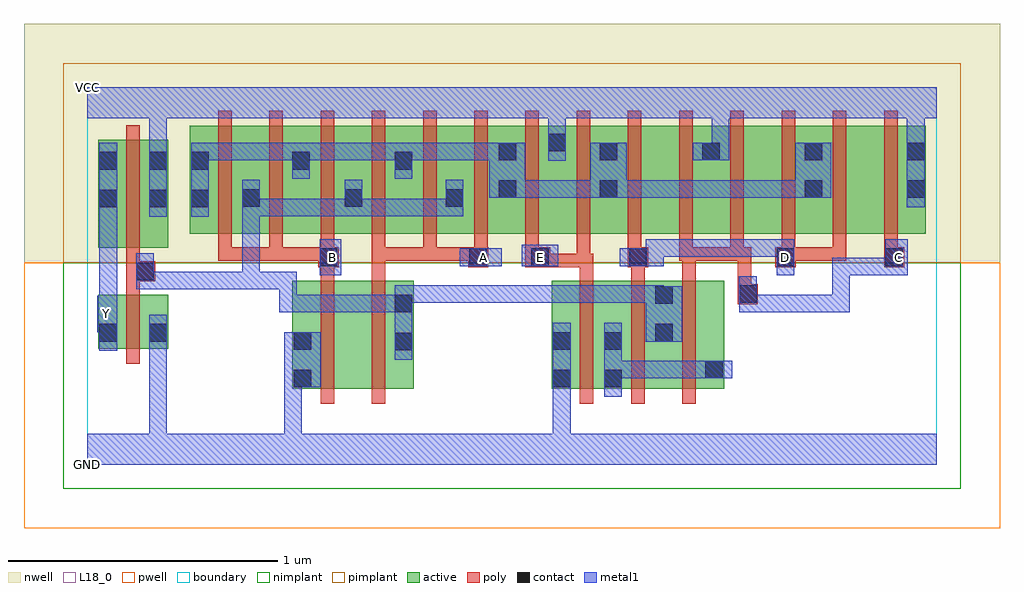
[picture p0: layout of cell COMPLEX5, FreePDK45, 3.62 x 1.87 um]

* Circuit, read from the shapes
.subckt COMPLEX5 A B C D E GND VCC Y
M1 GND n1 Y VSUBS nfet w=0.2u l=0.05u
M2 n2 B GND VSUBS nfet w=0.4u l=0.05u
M3 n1 A n2 VSUBS nfet w=0.4u l=0.05u
M4 n3 E GND VSUBS nfet w=0.4u l=0.05u
M5 n1 D n3 VSUBS nfet w=0.4u l=0.05u
M6 n3 C n1 VSUBS nfet w=0.4u l=0.05u
M7 VCC n1 Y n4 pfet w=0.4u l=0.05u
M8 n1 B n5 n4 pfet w=0.4u l=0.05u m=3
M9 n5 A n1 n4 pfet w=0.4u l=0.05u m=3
M10 VCC E n5 n4 pfet w=0.4u l=0.05u m=2
M11 n6 D n5 n4 pfet w=0.4u l=0.05u
M12 VCC C n6 n4 pfet w=0.4u l=0.05u
M13 n7 C VCC n4 pfet w=0.4u l=0.05u
M14 n5 D n7 n4 pfet w=0.4u l=0.05u
M15 n8 D n5 n4 pfet w=0.4u l=0.05u
M16 VCC C n8 n4 pfet w=0.4u l=0.05u
.ends

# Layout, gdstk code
import gdstk
lib = gdstk.Library(unit=1e-6, precision=1e-09)
def R(c, l, rs):  # rectangles x0, y0, x1, y1
    for r in rs: c.add(gdstk.rectangle(r[:2], r[2:], *l))
def A(c, l, x, y, w, h, nx, ny, dx, dy):  # array of equal rectangles
    R(c, l, [(x+i*dx, y+j*dy, x+i*dx+w, y+j*dy+h) for i in range(nx) for j in range(ny)])
active = (1, 0)
pwell = (2, 0)
nwell = (3, 0)
nimplant = (4, 0)
pimplant = (5, 0)
poly = (9, 0)
contact = (10, 0)
metal1 = (11, 0)
L18_0 = (18, 0)
boundary = (235, 0)

complex5 = lib.new_cell('COMPLEX5')
A(complex5, active, 1.895, 0.857, 0.23, 0.4, 3, 1, 0.38, 0)
A(complex5, active, 2.125, 0.857, 0.225, 0.4, 3, 1, 0.38, 0)
R(complex5, active, [(0.76,0.282,0.985,0.682), (0.76,0.282,0.835,0.547), (0.985,0.282,1.21,0.682), (1.722,0.282,1.797,0.682), (1.722,0.282,1.987,0.682), (1.912,0.282,2.177,0.682), (1.912,0.282,1.987,0.597), (2.102,0.282,2.362,0.682), (2.287,0.282,2.362,0.682), (1.135,0.295,1.21,0.682), (2.102,0.295,2.177,0.667), (0.04,0.43,0.115,0.63), (0.04,0.43,0.3,0.63), (0.225,0.43,0.3,0.63), (0.04,0.805,0.3,1.205), (0.04,0.805,0.115,1.2), (0.225,0.805,0.3,1.205), (0.38,0.857,0.645,1.257), (0.38,0.857,0.455,1.2), (0.57,0.857,0.83,1.257), (0.57,0.857,0.645,1.07), (0.755,0.857,0.83,1.2), (0.755,0.857,1.025,1.257), (0.95,0.857,1.21,1.257), (0.95,0.857,1.025,1.07), (1.135,0.857,1.4,1.257), (1.135,0.857,1.21,1.2), (1.325,0.857,1.595,1.257), (1.325,0.857,1.4,1.07), (1.52,0.857,1.78,1.257), (1.52,0.857,1.595,1.2), (1.705,0.857,1.78,1.257), (1.705,0.857,1.97,1.257), (1.895,0.857,1.97,1.2), (2.275,0.857,2.35,1.257), (2.655,0.857,2.73,1.2), (3.035,0.857,3.11,1.257)])
R(complex5, pwell, [(-0.235,-0.235,3.385,0.75)])
R(complex5, nwell, [(-0.235,0.75,3.385,1.635)])
R(complex5, nimplant, [(-0.09,-0.09,3.24,0.75)])
R(complex5, pimplant, [(-0.09,0.75,3.24,1.49)])
A(complex5, poly, 1.827, 0.227, 0.05, 0.51, 3, 1, 0.19, 0)
A(complex5, poly, 0.485, 0.757, 0.05, 0.095, 7, 1, 0.19, 0)
A(complex5, poly, 2.005, 0.757, 0.05, 0.095, 6, 1, 0.19, 0)
A(complex5, poly, 0.485, 0.802, 0.05, 0.51, 14, 1, 0.19, 0)
R(complex5, poly, [(0.865,0.227,0.915,0.737), (1.055,0.227,1.105,0.737), (0.145,0.375,0.195,0.685), (2.412,0.595,2.487,0.67), (2.412,0.62,2.462,0.807), (0.145,0.635,0.195,0.73), (0.145,0.68,0.252,0.755), (0.865,0.687,0.915,0.782), (1.055,0.687,1.105,0.807), (1.827,0.687,1.877,0.782), (2.017,0.687,2.067,0.782), (2.207,0.687,2.257,0.807), (0.145,0.705,0.195,0.8), (0.857,0.732,0.932,0.807), (1.412,0.732,1.487,0.807), (1.625,0.732,1.717,0.807), (1.667,0.732,1.865,0.782), (1.815,0.732,1.865,0.782), (1.815,0.732,1.865,0.782), (1.815,0.732,1.865,0.852), (1.815,0.732,1.877,0.782), (2.005,0.732,2.08,0.807), (2.552,0.732,2.627,0.807), (2.955,0.732,3.03,0.807), (0.145,0.75,0.195,1.26), (0.485,0.757,0.535,0.807), (0.485,0.757,0.535,0.807), (0.485,0.757,0.535,0.807), (0.485,0.757,0.725,0.807), (0.675,0.757,0.725,0.807), (0.675,0.757,0.725,0.807), (0.675,0.757,0.725,0.807), (0.675,0.757,0.907,0.807), (1.055,0.757,1.105,0.807), (1.055,0.757,1.105,0.807), (1.055,0.757,1.105,0.807), (1.055,0.757,1.295,0.807), (1.245,0.757,1.295,0.807), (1.245,0.757,1.295,0.807), (1.245,0.757,1.295,0.807), (1.245,0.757,1.462,0.807), (2.195,0.757,2.257,0.807), (2.207,0.757,2.435,0.807), (2.385,0.757,2.435,0.807), (2.385,0.757,2.435,0.807), (2.385,0.757,2.455,0.807), (2.405,0.757,2.455,0.807), (2.405,0.757,2.462,0.807), (2.577,0.757,2.815,0.807), (2.765,0.757,2.815,0.807), (2.765,0.757,2.815,0.807), (2.765,0.757,2.815,0.807)])
A(complex5, contact, 1.9, 1.13, 0.065, 0.065, 4, 1, 0.38, 0)
R(complex5, contact, [(0.765,0.287,0.83,0.352), (1.727,0.287,1.792,0.352), (1.917,0.287,1.982,0.352), (2.292,0.32,2.357,0.385), (1.14,0.425,1.205,0.49), (0.765,0.427,0.83,0.492), (1.727,0.427,1.792,0.492), (1.917,0.427,1.982,0.492), (0.045,0.457,0.11,0.522), (0.23,0.457,0.295,0.522), (2.107,0.457,2.172,0.522), (1.14,0.565,1.205,0.63), (2.107,0.597,2.172,0.662), (2.417,0.6,2.482,0.665), (0.182,0.685,0.247,0.75), (0.862,0.737,0.927,0.802), (1.417,0.737,1.482,0.802), (1.647,0.737,1.712,0.802), (2.01,0.737,2.075,0.802), (2.557,0.737,2.622,0.802), (2.96,0.737,3.025,0.802), (0.045,0.955,0.11,1.02), (0.23,0.955,0.295,1.02), (0.385,0.955,0.45,1.02), (0.575,0.957,0.64,1.022), (0.955,0.957,1.02,1.022), (1.33,0.957,1.395,1.022), (1.525,0.99,1.59,1.055), (1.9,0.99,1.965,1.055), (2.66,0.99,2.725,1.055), (3.04,0.99,3.105,1.055), (0.045,1.095,0.11,1.16), (0.23,1.095,0.295,1.16), (0.385,1.095,0.45,1.16), (0.76,1.095,0.825,1.16), (1.14,1.095,1.205,1.16), (1.525,1.13,1.59,1.195), (1.71,1.162,1.775,1.227)])
R(complex5, metal1, [(0,0,3.15,0.115), (0.23,0.05,0.295,0.115), (0.23,0.05,0.295,0.115), (0.23,0.05,0.295,0.115), (0.23,0.05,0.295,0.115), (0.23,0.05,0.295,0.487), (0.73,0.05,0.795,0.115), (0.73,0.05,0.795,0.115), (0.73,0.05,0.795,0.352), (1.727,0.05,1.792,0.115), (1.727,0.05,1.792,0.115), (1.727,0.05,1.792,0.317), (1.727,0.252,1.792,0.527), (1.917,0.252,1.982,0.527), (0.73,0.287,0.865,0.492), (1.917,0.32,2.137,0.385), (2.072,0.32,2.137,0.385), (2.072,0.32,2.137,0.385), (2.072,0.32,2.137,0.385), (2.072,0.32,2.3,0.385), (2.235,0.32,2.3,0.385), (2.235,0.32,2.322,0.385), (2.257,0.32,2.392,0.385), (1.14,0.39,1.205,0.665), (0.045,0.422,0.11,0.557), (0.23,0.422,0.295,0.487), (0.23,0.422,0.295,0.487), (0.23,0.422,0.295,0.557), (2.072,0.457,2.207,0.662), (0.037,0.492,0.11,0.627), (0.045,0.492,0.11,0.557), (0.045,0.562,0.11,0.985), (0.712,0.565,0.777,0.63), (0.712,0.565,0.777,0.63), (0.712,0.565,0.777,0.63), (0.712,0.565,1.067,0.63), (0.712,0.565,0.777,0.715), (1.002,0.565,1.067,0.63), (1.002,0.565,1.067,0.63), (1.002,0.565,1.067,0.63), (1.002,0.565,1.205,0.63), (2.417,0.565,2.482,0.63), (2.417,0.565,2.482,0.63), (2.417,0.565,2.482,0.63), (2.417,0.565,2.482,0.63), (2.417,0.565,2.482,0.7), (2.417,0.565,2.69,0.63), (2.625,0.565,2.69,0.63), (2.625,0.565,2.69,0.63), (2.625,0.565,2.69,0.63), (2.625,0.565,2.827,0.63), (2.762,0.565,2.827,0.767), (2.762,0.565,2.827,0.63), (2.762,0.565,2.827,0.63), (2.762,0.565,2.827,0.63), (2.072,0.597,2.137,0.662), (2.072,0.597,2.137,0.665), (1.14,0.6,1.205,0.665), (1.14,0.6,1.205,0.665), (1.14,0.6,1.395,0.665), (1.33,0.6,1.395,0.665), (1.33,0.6,1.395,0.665), (1.33,0.6,1.395,0.665), (1.33,0.6,1.54,0.665), (1.475,0.6,1.54,0.665), (1.475,0.6,1.54,0.665), (1.475,0.6,1.54,0.665), (1.475,0.6,1.792,0.665), (1.727,0.6,1.792,0.665), (1.727,0.6,1.792,0.665), (1.727,0.6,1.792,0.665), (1.727,0.6,1.93,0.665), (1.865,0.6,1.93,0.665), (1.865,0.6,2.137,0.665), (0.182,0.65,0.247,0.715), (0.182,0.65,0.247,0.715), (0.182,0.65,0.247,0.785), (0.182,0.65,0.432,0.715), (0.367,0.65,0.432,0.715), (0.367,0.65,0.432,0.715), (0.367,0.65,0.432,0.715), (0.367,0.65,0.64,0.715), (0.575,0.65,0.64,0.715), (0.575,0.65,0.64,0.715), (0.575,0.65,0.64,0.715), (0.575,0.65,0.777,0.715), (0.575,0.65,0.64,0.987), (0.712,0.65,0.777,0.715), (0.862,0.702,0.942,0.837), (2.557,0.702,2.622,0.837), (2.762,0.702,3.025,0.767), (2.762,0.702,2.827,0.767), (2.96,0.702,3.042,0.837), (1.382,0.737,1.537,0.802), (1.612,0.737,1.747,0.815), (1.975,0.737,2.11,0.802), (2.045,0.737,2.137,0.802), (2.072,0.737,2.137,0.837), (2.072,0.772,2.3,0.837), (2.235,0.772,2.3,0.837), (2.235,0.772,2.3,0.837), (2.235,0.772,2.3,0.837), (2.235,0.772,2.485,0.837), (2.42,0.772,2.485,0.837), (2.42,0.772,2.485,0.837), (2.42,0.772,2.485,0.837), (2.42,0.772,2.622,0.837), (0.045,0.92,0.11,1.195), (0.23,0.92,0.295,1.195), (0.385,0.92,0.45,1.195), (0.575,0.922,0.64,0.987), (0.575,0.922,0.64,0.987), (0.575,0.922,0.777,0.987), (0.575,0.922,0.64,1.057), (0.712,0.922,0.777,0.987), (0.712,0.922,0.777,0.987), (0.712,0.922,0.777,0.987), (0.712,0.922,1.02,0.987), (0.955,0.922,1.02,0.987), (0.955,0.922,1.02,0.987), (0.955,0.922,1.02,1.057), (0.955,0.922,1.257,0.987), (1.192,0.922,1.257,0.987), (1.192,0.922,1.257,0.987), (1.192,0.922,1.257,0.987), (1.192,0.922,1.395,0.987), (1.33,0.922,1.395,1.057), (3.04,0.955,3.105,1.23), (1.49,0.99,1.625,1.195), (1.56,0.99,1.625,1.055), (1.56,0.99,1.625,1.055), (1.56,0.99,1.625,1.055), (1.56,0.99,1.625,1.055), (1.56,0.99,1.792,1.055), (1.727,0.99,1.792,1.055), (1.727,0.99,1.792,1.055), (1.727,0.99,1.792,1.055), (1.727,0.99,1.93,1.055), (1.865,0.99,2,1.195), (1.935,0.99,2,1.055), (1.935,0.99,2,1.055), (1.935,0.99,2.162,1.055), (2.097,0.99,2.162,1.055), (2.097,0.99,2.3,1.055), (2.235,0.99,2.3,1.055), (2.235,0.99,2.3,1.055), (2.235,0.99,2.3,1.055), (2.235,0.99,2.437,1.055), (2.372,0.99,2.437,1.055), (2.372,0.99,2.437,1.055), (2.372,0.99,2.437,1.055), (2.372,0.99,2.69,1.055), (2.625,0.99,2.69,1.055), (2.625,0.99,2.69,1.055), (2.625,0.99,2.76,1.195), (0.76,1.06,0.825,1.195), (1.14,1.06,1.205,1.195), (1.71,1.127,1.775,1.262), (0.23,1.13,0.295,1.35), (0.385,1.13,0.45,1.195), (0.385,1.13,0.45,1.195), (0.385,1.13,0.64,1.195), (0.575,1.13,0.64,1.195), (0.575,1.13,0.64,1.195), (0.575,1.13,0.64,1.195), (0.575,1.13,0.825,1.195), (0.76,1.13,0.825,1.195), (0.76,1.13,0.825,1.195), (0.76,1.13,0.99,1.195), (0.925,1.13,0.99,1.195), (0.925,1.13,0.99,1.195), (0.925,1.13,0.99,1.195), (0.925,1.13,1.205,1.195), (1.14,1.13,1.205,1.195), (1.14,1.13,1.205,1.195), (1.14,1.13,1.402,1.195), (1.337,1.13,1.402,1.195), (1.337,1.13,1.402,1.195), (1.337,1.13,1.402,1.195), (1.337,1.13,1.555,1.195), (2.245,1.13,2.38,1.195), (2.315,1.13,2.38,1.35), (3.04,1.165,3.105,1.35), (1.71,1.197,1.775,1.35), (0,1.285,3.15,1.4)])
R(complex5, L18_0, [(0,0,3.15,0.115), (0.23,0.05,0.295,0.115), (0.23,0.05,0.295,0.115), (0.23,0.05,0.295,0.115), (0.23,0.05,0.295,0.115), (0.23,0.05,0.295,0.487), (0.73,0.05,0.795,0.115), (0.73,0.05,0.795,0.115), (0.73,0.05,0.795,0.352), (1.727,0.05,1.792,0.115), (1.727,0.05,1.792,0.115), (1.727,0.05,1.792,0.317), (1.727,0.252,1.792,0.527), (0.73,0.287,0.865,0.492), (0.045,0.422,0.11,0.557), (0.23,0.422,0.295,0.557), (0.23,0.422,0.295,0.487), (0.23,0.422,0.295,0.487), (0.037,0.492,0.11,0.627), (0.045,0.492,0.11,0.557), (0.037,0.527,0.102,0.592), (0.045,0.562,0.11,0.985), (2.417,0.565,2.482,0.7), (2.417,0.565,2.482,0.63), (2.417,0.565,2.482,0.63), (2.417,0.565,2.482,0.63), (2.417,0.565,2.482,0.63), (2.417,0.565,2.69,0.63), (2.625,0.565,2.69,0.63), (2.625,0.565,2.69,0.63), (2.625,0.565,2.69,0.63), (2.625,0.565,2.827,0.63), (2.762,0.565,2.827,0.63), (2.762,0.565,2.827,0.63), (2.762,0.565,2.827,0.63), (2.762,0.565,2.827,0.767), (0.862,0.702,0.942,0.837), (2.557,0.702,2.622,0.837), (2.762,0.702,2.827,0.767), (2.762,0.702,3.025,0.767), (2.96,0.702,3.042,0.837), (0.877,0.737,0.942,0.802), (1.382,0.737,1.537,0.802), (1.437,0.737,1.502,0.802), (1.612,0.737,1.747,0.815), (1.647,0.737,1.712,0.802), (1.975,0.737,2.11,0.802), (2.045,0.737,2.137,0.802), (2.072,0.737,2.137,0.837), (2.557,0.737,2.622,0.802), (2.977,0.737,3.042,0.802), (2.072,0.772,2.3,0.837), (2.235,0.772,2.3,0.837), (2.235,0.772,2.3,0.837), (2.235,0.772,2.3,0.837), (2.235,0.772,2.485,0.837), (2.42,0.772,2.485,0.837), (2.42,0.772,2.485,0.837), (2.42,0.772,2.485,0.837), (2.42,0.772,2.622,0.837), (0.045,0.92,0.11,1.195), (0.23,0.92,0.295,1.195), (3.04,0.955,3.105,1.23), (1.71,1.127,1.775,1.262), (0.23,1.13,0.295,1.35), (2.245,1.13,2.38,1.195), (2.315,1.13,2.38,1.35), (3.04,1.165,3.105,1.35), (1.71,1.197,1.775,1.35), (0,1.285,3.15,1.4)])
R(complex5, boundary, [(0,0,3.15,1.4)])
complex5.add(gdstk.Label('A', (1.47,0.77), layer=11, texttype=0))
complex5.add(gdstk.Label('B', (0.91,0.77), layer=11, texttype=0))
complex5.add(gdstk.Label('C', (3.01,0.77), layer=11, texttype=0))
complex5.add(gdstk.Label('D', (2.59,0.77), layer=11, texttype=0))
complex5.add(gdstk.Label('E', (1.68,0.77), layer=11, texttype=0))
complex5.add(gdstk.Label('Y', (0.07,0.56), layer=11, texttype=0))
complex5.add(gdstk.Label('VCC', (0,1.4), layer=11, texttype=0))
complex5.add(gdstk.Label('GND', (0,0), layer=11, texttype=0))

lib.write_gds('COMPLEX5.gds')
